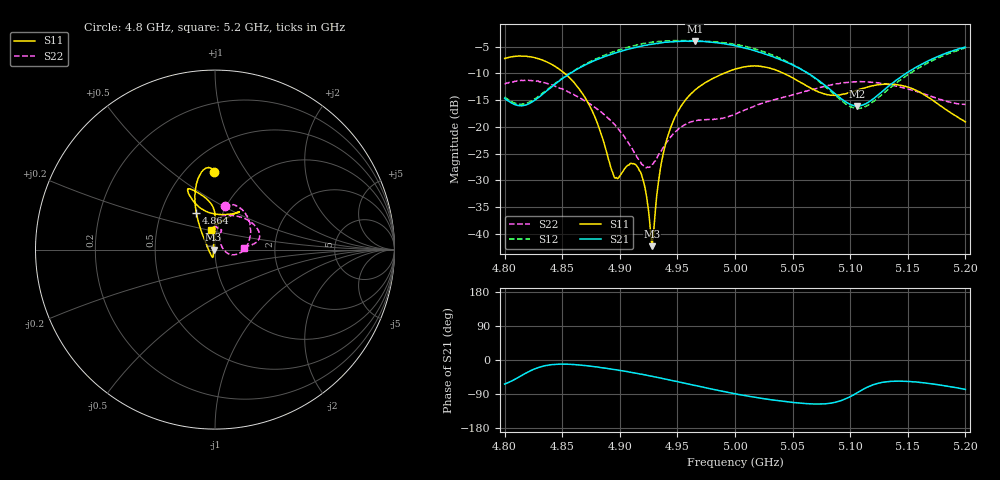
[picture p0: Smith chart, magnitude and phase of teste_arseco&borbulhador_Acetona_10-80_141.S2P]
! Network Analyzer HP8722D
! Hewlett-Packard
! Data name: Linha & Wilkinson
! Saver's name: Rodrigo Anjos
! Comments: Teste da utilização de aquisição
! continua pelo VNA HP8722D
! Time and date: 25/4/2025 16:26
!  Frequency  S11  S21  S12  S22
# HZ  S  MA R 50
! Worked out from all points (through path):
!   401 points, 4.8 GHz to 5.2 GHz, reference 50 ohm
!   highest |S21| = -3.98 dB at 4.965 GHz (marker M1); lowest = -16.1 dB at 5.106 GHz (marker M2)
!   lowest |S11| = -42.3 dB at 4.928 GHz (marker M3), VSWR 1.02, Z = 49.2 - j0.0621 ohm
!   |S11| at or under -10 dB: 4.852 GHz to 4.99 GHz (138.4 MHz wide, 2.81 % of centre); 5.042 GHz to end of sweep
!   |S22| runs from -27.7 to -11.3 dB; largest |S21 - S12| = 1.2
!   S11 on the Smith chart (normalised r, x): 4.8 GHz: 0.68, +0.73; 4.864 GHz: 0.75, +0.33; 5.2 GHz: 0.94, +0.21
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4.8e9  0.4347 90.7  0.1846 -63.4  0.1899 70.0  0.2493 77.0
4.82e9  0.453 97.1  0.1624 -32.0  0.1677 98.9  0.2717 61.5
4.864e9  0.2313 116.8  0.3508 -12.9  0.3533 120.9  0.1889 11.8
4.867e9  0.2085 118.5  0.3647 -13.9  0.3687 120.6  0.1821 8.5
4.88e9  0.1115 129.2  0.4243 -18.4  0.4345 118.2  0.147 -5.4
4.896e9  0.03312 -164.9  0.4887 -25.4  0.5079 113.0  0.1036 -16.2
4.91e9  0.04555 -107.9  0.5401 -32.7  0.5641 107.0  0.06383 -13.4
4.917e9  0.03902 -105.1  0.5623 -36.5  0.5891 103.3  0.04783 -0.7
4.922e9  0.02646 -108.8  0.5763 -39.3  0.6038 100.5  0.04171 16.6
4.928e9  0.007661 -175.3  0.5917 -43.1  0.6172 96.9  0.04429 42.3
4.93e9  0.01273 127.7  0.596 -44.6  0.6207 95.6  0.04725 48.9
4.934e9  0.0331 101.1  0.6036 -46.9  0.6289 93.2  0.05571 57.9
4.939e9  0.06444 93.7  0.6165 -49.9  0.6337 89.9  0.06711 65.8
4.946e9  0.1105 90.2  0.6225 -54.5  0.6385 85.4  0.08482 69.9
4.965e9  0.2191 91.2  0.6322 -67.1  0.6348 73.3  0.114 71.6
5e9  0.3463 109.1  0.5717 -89.1  0.5898 50.7  0.1312 88.2
5.029e9  0.3558 115.0  0.4674 -103.8  0.4846 34.0  0.1725 85.6
5.067e9  0.2262 105.3  0.299 -115.7  0.2966 23.6  0.2229 56.9
5.106e9  0.22 64.8  0.1565 -86.4  0.1484 56.6  0.2628 24.5
5.134e9  0.2502 57.3  0.2423 -56.6  0.2281 88.7  0.2472 12.3
5.167e9  0.1905 68.6  0.4091 -61.3  0.3931 85.5  0.1981 7.1
5.2e9  0.1111 100.8  0.5555 -77.5  0.5453 69.8  0.1615 3.6
